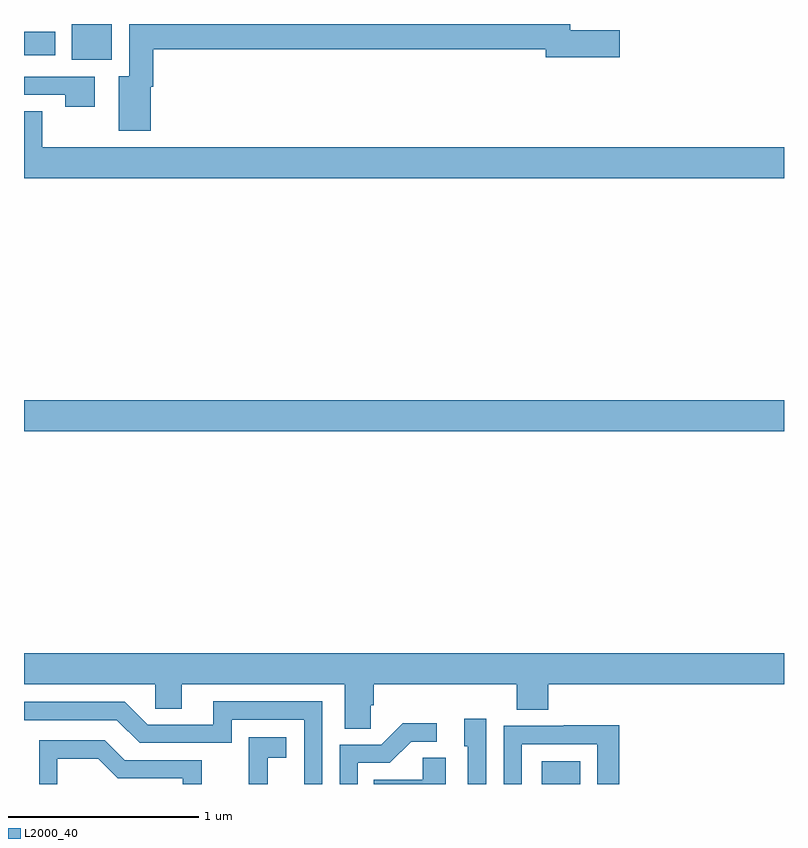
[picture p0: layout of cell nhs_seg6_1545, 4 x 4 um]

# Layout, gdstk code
import gdstk
lib = gdstk.Library(unit=1e-6, precision=1e-09)
def R(c, l, rs):  # rectangles x0, y0, x1, y1
    for r in rs: c.add(gdstk.rectangle(r[:2], r[2:], *l))
def P(c, l, *ps):  # polygons
    for p in ps: c.add(gdstk.Polygon(p, *l))
L2000_40 = (2000, 40)

nhs_seg6_1545 = lib.new_cell('nhs_seg6_1545')
R(nhs_seg6_1545, L2000_40, [(207.725,925.5,207.928,925.621), (205,927.356,209,927.52), (205.25,929.312,205.462,929.5), (205,929.336,205.165,929.458)])
P(nhs_seg6_1545, L2000_40, [(205.666,929.171),(205.679,929.171),(205.679,929.368),(207.746,929.368),(207.746,929.326),(208.135,929.326),(208.135,929.468),(207.874,929.468),(207.874,929.5),(205.553,929.5),(205.553,929.224),(205.499,929.224),(205.499,928.938),(205.666,928.938)],
  [(205.372,929.223),(205,929.223),(205,929.127),(205.216,929.127),(205.216,929.064),(205.372,929.064)],
  [(209,928.852),(205.095,928.852),(205.095,929.042),(205,929.042),(205,928.688),(209,928.688)],
  [(206.826,925.915),(206.84,925.915),(206.84,926.024),(207.593,926.024),(207.593,925.891),(207.758,925.891),(207.758,926.024),(209,926.024),(209,926.188),(205,926.188),(205,926.024),(205.692,926.024),(205.692,925.897),(205.831,925.897),(205.831,926.024),(206.687,926.024),(206.687,925.792),(206.826,925.792)],
  [(206.571,925.935),(205.997,925.935),(205.997,925.812),(205.65,925.812),(205.53,925.932),(205,925.932),(205,925.836),(205.488,925.836),(205.608,925.716),(206.094,925.716),(206.094,925.839),(206.475,925.839),(206.475,925.5),(206.571,925.5)],
  [(207.432,925.843),(207.317,925.843),(207.317,925.698),(207.336,925.698),(207.336,925.5),(207.432,925.5)],
  [(206.757,925.611),(206.926,925.611),(207.037,925.722),(207.172,925.722),(207.172,925.82),(206.993,925.82),(206.88,925.707),(206.661,925.707),(206.661,925.5),(206.757,925.5)],
  [(207.621,925.71),(208.017,925.71),(208.017,925.5),(208.133,925.5),(208.133,925.808),(207.841,925.808),(207.841,925.806),(207.525,925.806),(207.525,925.5),(207.621,925.5)],
  [(206.282,925.637),(206.38,925.637),(206.38,925.747),(206.182,925.747),(206.182,925.541),(206.183,925.541),(206.183,925.5),(206.282,925.5)],
  [(205.176,925.634),(205.39,925.634),(205.494,925.53),(205.836,925.53),(205.836,925.5),(205.935,925.5),(205.935,925.626),(205.531,925.626),(205.426,925.731),(205.08,925.731),(205.08,925.5),(205.176,925.5)],
  [(207.22,925.637),(207.099,925.637),(207.099,925.522),(206.842,925.522),(206.842,925.5),(207.22,925.5)])

lib.write_gds('nhs_seg6_1545.gds')
